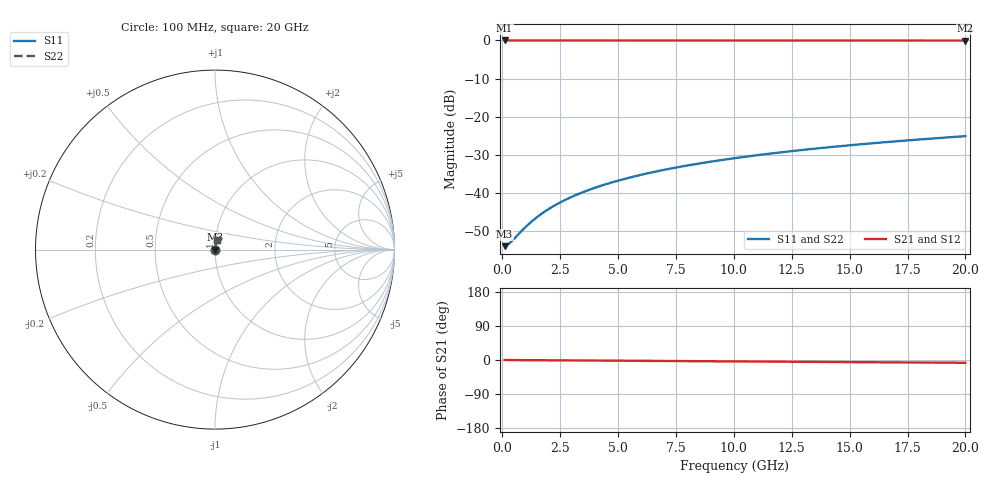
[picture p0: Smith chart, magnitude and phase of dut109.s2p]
! Touchstone file exported from HFSS 2026.1.0
!  File:  C:/ffzhzh/LocalFiles/Ansys_Project_Files/temp_train_TSV_109_1782989644_45328.aedt
!  Generated:  06:56:37 PM Jul  2, 2026
!  Design:  TSV
!  Project:  temp_train_TSV_109_1782989644_45328
! Variables:
!  h_bsmrdl = 2um
!  h_ox = 20um
!  h_rdl = 5um
!  h_sub = 70.55um
!  h_tmrdl = 5um
!  h_tsv = 70.55um
!  h_via = 3um
!  l_bsmrdl = 300um
!  l_sub = 404.04um
!  l_tmrdl = 200um
!  m_sub = 200um
!  pitch = 16.99um
!  r_tsv = 2.02um
!  s_tmrdl = 10um
!  w_bsmrdl = 18um
!  w_sub = 500um
!  w_tmrdl = 12um
!  x_tsv_center1 = 206um
!  x_tsv_center2 = 524um
!  x_tsv_center3 = 736um
!  x_tsv_center4 = 1054um
!  x_tsv_center5 = 1266um
!  x_tsv_center6 = 1584um
# GHz S MA R 50.000000
! Terminal data exported
! Port[1] = TSV1_1_T1
! Port[2] = TSV1_1_T2
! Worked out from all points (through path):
!   200 points, 100 MHz to 20 GHz, reference 50 ohm
!   highest |S21| = -0.02 dB at 100 MHz (marker M1); lowest = -0.1 dB at 20 GHz (marker M2)
!   group delay of S21, straight-line fit = 1.02 ps
!   lowest |S11| = -53.9 dB at 100 MHz (marker M3), VSWR 1.00, Z = 50.2 + j0.0298 ohm
!   |S11| at or under -10 dB: start of sweep to end of sweep
!   |S22| runs from -53.9 to -25.1 dB; largest |S21 - S12| = 2.1e-15
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0.1  0.002012 8.5  0.998 -0.0  0.998 -0.0  0.002012 8.5
! Gamma 0 0 0 0
! Port Impedance 50 0 50 0
0.2  0.00208 16.6  0.998 -0.1  0.998 -0.1  0.00208 16.6
0.4  0.002331 30.5  0.998 -0.2  0.998 -0.2  0.002331 30.5
0.9  0.00334 51.9  0.998 -0.3  0.998 -0.3  0.00334 51.9
1.2  0.004065 59.0  0.9979 -0.5  0.9979 -0.5  0.004065 59.0
1.5  0.004832 63.9  0.9979 -0.6  0.9979 -0.6  0.004832 63.9
1.8  0.005623 67.4  0.9979 -0.7  0.9979 -0.7  0.005623 67.4
2.2  0.006704 70.7  0.9979 -0.8  0.9979 -0.8  0.006704 70.7
2.6  0.007802 73.1  0.9978 -1.0  0.9978 -1.0  0.007802 73.1
3  0.008912 74.8  0.9978 -1.1  0.9978 -1.1  0.008912 74.8
3.5  0.01031 76.4  0.9978 -1.3  0.9978 -1.3  0.01031 76.4
4.2  0.01227 77.9  0.9977 -1.6  0.9977 -1.6  0.01227 77.9
5  0.01453 79.0  0.9976 -1.9  0.9976 -1.9  0.01453 79.0
5.9  0.01706 79.8  0.9975 -2.2  0.9975 -2.2  0.01706 79.8
6.8  0.0196 80.2  0.9973 -2.5  0.9973 -2.5  0.0196 80.2
8.3  0.0238 80.5  0.9971 -3.1  0.9971 -3.1  0.0238 80.5
10.1  0.02881 80.5  0.9967 -3.8  0.9967 -3.8  0.02881 80.5
11.7  0.03323 80.3  0.9964 -4.3  0.9964 -4.3  0.03323 80.3
13.4  0.03788 80.0  0.996 -5.0  0.996 -5.0  0.03788 80.0
15  0.04223 79.6  0.9956 -5.5  0.9956 -5.5  0.04223 79.6
16.7  0.0468 79.2  0.9951 -6.2  0.9951 -6.2  0.0468 79.2
20  0.05559 78.3  0.9942 -7.4  0.9942 -7.4  0.05559 78.3
